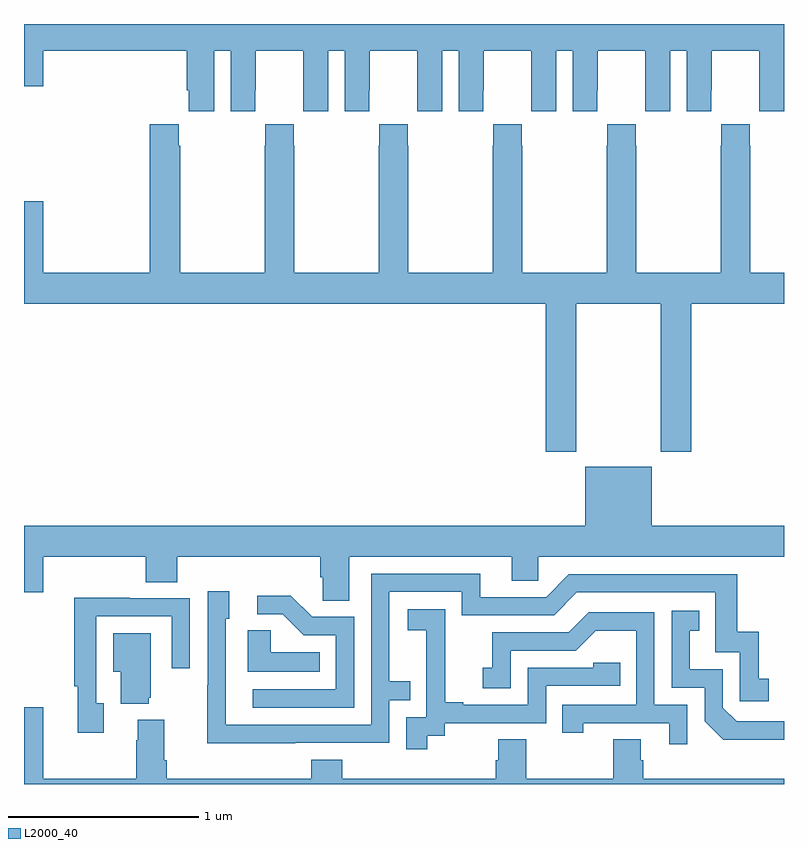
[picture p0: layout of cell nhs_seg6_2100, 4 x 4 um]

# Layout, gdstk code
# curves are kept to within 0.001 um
import gdstk
lib = gdstk.Library(unit=1e-6, precision=1e-09)
def P(c, l, *ps):  # polygons
    for p in ps: c.add(gdstk.Polygon(p, *l))
L2000_40 = (2000, 40)

nhs_seg6_2100 = lib.new_cell('nhs_seg6_2100')
P(nhs_seg6_2100, L2000_40, [(237,923.172),(237.1,923.172),(237.1,923.36),(237.857,923.36),(237.857,923.152),(237.866,923.152),(237.866,923.04),(238,923.04),(238,923.36),(238.088,923.36),(238.088,923.04),(238.218,923.04),(238.218,923.152),(238.219,923.152),(238.219,923.36),(238.469,923.36),(238.469,923.152),(238.47,923.152),(238.47,923.04),(238.6,923.04),(238.6,923.36),(238.688,923.36),(238.688,923.04),(238.818,923.04),(238.818,923.152),(238.819,923.152),(238.819,923.36),(239.069,923.36),(239.069,923.152),(239.07,923.152),(239.07,923.04),(239.2,923.04),(239.2,923.36),(239.288,923.36),(239.288,923.04),(239.418,923.04),(239.418,923.152),(239.419,923.152),(239.419,923.36),(239.669,923.36),(239.669,923.152),(239.67,923.152),(239.67,923.04),(239.8,923.04),(239.8,923.36),(239.888,923.36),(239.888,923.04),(240.018,923.04),(240.018,923.152),(240.019,923.152),(240.019,923.36),(240.269,923.36),(240.269,923.152),(240.27,923.152),(240.27,923.04),(240.4,923.04),(240.4,923.36),(240.488,923.36),(240.488,923.04),(240.618,923.04),(240.618,923.152),(240.619,923.152),(240.619,923.36),(240.869,923.36),(240.869,923.152),(240.87,923.152),(240.87,923.04),(241,923.04),(241,923.5),(237,923.5)],
  [(239.907,922.028),(240.352,922.028),(240.352,921.249),(240.512,921.249),(240.512,922.028),(241,922.028),(241,922.192),(240.822,922.192),(240.822,922.859),(240.819,922.859),(240.819,922.972),(240.669,922.972),(240.669,922.859),(240.667,922.859),(240.667,922.192),(240.222,922.192),(240.222,922.859),(240.219,922.859),(240.219,922.972),(240.069,922.972),(240.069,922.859),(240.067,922.859),(240.067,922.192),(239.622,922.192),(239.622,922.859),(239.619,922.859),(239.619,922.972),(239.469,922.972),(239.469,922.859),(239.467,922.859),(239.467,922.192),(239.022,922.192),(239.022,922.859),(239.019,922.859),(239.019,922.972),(238.869,922.972),(238.869,922.859),(238.867,922.859),(238.867,922.192),(238.422,922.192),(238.422,922.859),(238.419,922.859),(238.419,922.972),(238.269,922.972),(238.269,922.859),(238.267,922.859),(238.267,922.192),(237.822,922.192),(237.822,922.859),(237.815,922.859),(237.815,922.972),(237.662,922.972),(237.662,922.192),(237.1,922.192),(237.1,922.567),(237,922.567),(237,922.028),(239.747,922.028),(239.747,921.249),(239.907,921.249)],
  [(238.711,920.696),(239.567,920.696),(239.567,920.569),(239.706,920.569),(239.706,920.696),(241,920.696),(241,920.86),(240.304,920.86),(240.304,921.169),(239.954,921.169),(239.954,920.86),(237,920.86),(237,920.508),(237.1,920.508),(237.1,920.696),(237.641,920.696),(237.641,920.563),(237.806,920.563),(237.806,920.696),(238.559,920.696),(238.559,920.587),(238.572,920.587),(238.572,920.464),(238.711,920.464)],
  [(238.427,919.716),(238.923,919.716),(238.923,919.941),(239.033,919.941),(239.033,920.042),(238.923,920.042),(238.923,920.511),(239.304,920.511),(239.304,920.388),(239.79,920.388),(239.91,920.508),(240.639,920.508),(240.639,920.193),(240.768,920.193),(240.768,919.935),(240.919,919.935),(240.919,920.055),(240.866,920.055),(240.866,920.302),(240.755,920.302),(240.755,920.604),(239.868,920.604),(239.748,920.484),(239.401,920.484),(239.401,920.607),(238.827,920.607),(238.827,919.812),(238.062,919.812),(238.062,920.37),(238.081,920.37),(238.081,920.515),(237.966,920.515),(237.966,920.021),(237.964,920.021),(237.964,919.715)],
  [(238.737,920.379),(238.518,920.379),(238.405,920.492),(238.227,920.492),(238.227,920.394),(238.361,920.394),(238.472,920.283),(238.641,920.283),(238.641,919.998),(238.203,919.998),(238.203,919.902),(238.737,919.902)],
  [(237.421,919.926),(237.381,919.926),(237.381,920.382),(237.777,920.382),(237.777,920.109),(237.873,920.109),(237.873,920.478),(237.557,920.478),(237.557,920.48),(237.265,920.48),(237.265,920.014),(237.284,920.014),(237.284,919.77),(237.421,919.77)],
  [(239.122,919.753),(239.214,919.753),(239.214,919.821),(239.748,919.821),(239.748,920.016),(240.137,920.016),(240.137,920.139),(239.997,920.139),(239.997,920.112),(239.652,920.112),(239.652,919.917),(239.311,919.917),(239.311,919.93),(239.216,919.93),(239.216,920.213),(239.217,920.213),(239.217,920.419),(239.019,920.419),(239.019,920.309),(239.117,920.309),(239.117,920.081),(239.118,920.081),(239.118,919.851),(239.013,919.851),(239.013,919.683),(239.122,919.683)],
  [(241,919.83),(240.75,919.83),(240.678,919.902),(240.678,920.103),(240.505,920.103),(240.505,920.307),(240.554,920.307),(240.554,920.413),(240.408,920.413),(240.408,920.007),(240.582,920.007),(240.582,919.83),(240.68,919.733),(241,919.733)],
  [(240.492,919.917),(240.318,919.917),(240.318,920.403),(239.972,920.403),(239.867,920.298),(239.464,920.298),(239.464,920.113),(239.415,920.113),(239.415,920.004),(239.562,920.004),(239.562,920.202),(239.904,920.202),(240.008,920.306),(240.222,920.306),(240.222,919.917),(239.833,919.917),(239.833,919.77),(239.944,919.77),(239.944,919.821),(240.395,919.821),(240.395,919.71),(240.492,919.71)],
  [(238.556,920.194),(238.299,920.194),(238.299,920.309),(238.178,920.309),(238.178,920.09),(238.556,920.09)],
  [(237.656,919.953),(237.667,919.953),(237.667,920.293),(237.47,920.293),(237.47,920.09),(237.509,920.09),(237.509,919.922),(237.656,919.922)],
  [(241,919.528),(240.26,919.528),(240.26,919.626),(240.247,919.626),(240.247,919.736),(240.1,919.736),(240.1,919.528),(239.643,919.528),(239.643,919.736),(239.495,919.736),(239.495,919.626),(239.483,919.626),(239.483,919.528),(238.676,919.528),(238.676,919.627),(238.511,919.627),(238.511,919.528),(237.752,919.528),(237.752,919.624),(237.739,919.624),(237.739,919.837),(237.599,919.837),(237.599,919.73),(237.592,919.73),(237.592,919.528),(237.1,919.528),(237.1,919.903),(237,919.903),(237,919.5),(241,919.5)])

lib.write_gds('nhs_seg6_2100.gds')
